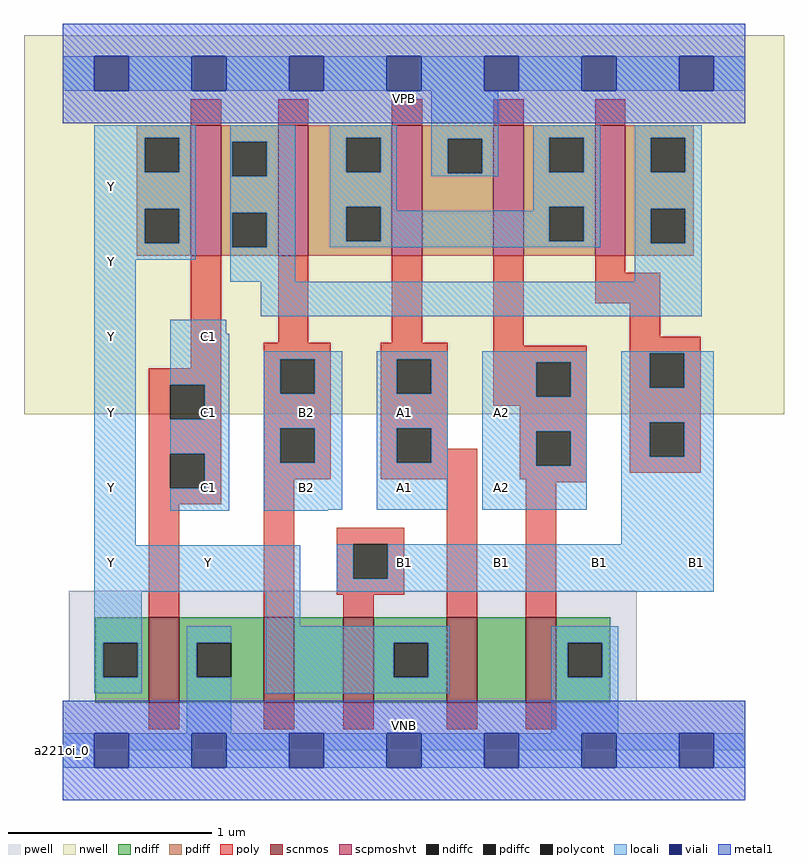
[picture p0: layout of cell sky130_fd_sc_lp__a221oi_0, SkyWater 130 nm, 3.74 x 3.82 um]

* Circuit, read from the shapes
.subckt sky130_fd_sc_lp__a221oi_0 A1 A2 B1 B2 C1 VGND VNB VPB VPWR Y
XM1 VGND C1 Y VNB sky130_fd_pr__nfet_01v8 w=0.42 l=0.15
XM2 n1 B2 VGND VNB sky130_fd_pr__nfet_01v8 w=0.42 l=0.15
XM3 Y B1 n1 VNB sky130_fd_pr__nfet_01v8 w=0.42 l=0.15
XM4 n2 A1 Y VNB sky130_fd_pr__nfet_01v8 w=0.42 l=0.15
XM5 VGND A2 n2 VNB sky130_fd_pr__nfet_01v8 w=0.42 l=0.15
XM6 n3 C1 Y VPB sky130_fd_pr__pfet_01v8_hvt w=0.64 l=0.15
XM7 n4 B2 n3 VPB sky130_fd_pr__pfet_01v8_hvt w=0.64 l=0.15
XM8 VPWR A1 n4 VPB sky130_fd_pr__pfet_01v8_hvt w=0.64 l=0.15
XM9 n4 A2 VPWR VPB sky130_fd_pr__pfet_01v8_hvt w=0.64 l=0.15
XM10 n3 B1 n4 VPB sky130_fd_pr__pfet_01v8_hvt w=0.64 l=0.15
.ends

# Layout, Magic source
magic
tech sky130A
magscale 1 2
<< nwell >>
rect -38 331 710 704
<< pwell >>
rect 6 49 565 157
rect 0 0 672 49
<< scnmos >>
rect 85 47 115 131
rect 198 47 228 131
rect 276 47 306 131
rect 378 47 408 131
rect 456 47 486 131
<< scpmoshvt >>
rect 126 487 156 615
rect 212 487 242 615
rect 324 487 354 615
rect 424 487 454 615
rect 524 487 554 615
<< ndiff >>
rect 32 106 85 131
rect 32 72 40 106
rect 74 72 85 106
rect 32 47 85 72
rect 115 106 198 131
rect 115 72 132 106
rect 166 72 198 106
rect 115 47 198 72
rect 228 47 276 131
rect 306 106 378 131
rect 306 72 326 106
rect 360 72 378 106
rect 306 47 378 72
rect 408 47 456 131
rect 486 106 539 131
rect 486 72 497 106
rect 531 72 539 106
rect 486 47 539 72
<< pdiff >>
rect 73 603 126 615
rect 73 569 81 603
rect 115 569 126 603
rect 73 533 126 569
rect 73 499 81 533
rect 115 499 126 533
rect 73 487 126 499
rect 156 599 212 615
rect 156 565 167 599
rect 201 565 212 599
rect 156 529 212 565
rect 156 495 167 529
rect 201 495 212 529
rect 156 487 212 495
rect 242 603 324 615
rect 242 569 279 603
rect 313 569 324 603
rect 242 535 324 569
rect 242 501 279 535
rect 313 501 324 535
rect 242 487 324 501
rect 354 602 424 615
rect 354 568 379 602
rect 413 568 424 602
rect 354 487 424 568
rect 454 603 524 615
rect 454 569 479 603
rect 513 569 524 603
rect 454 535 524 569
rect 454 501 479 535
rect 513 501 524 535
rect 454 487 524 501
rect 554 603 621 615
rect 554 569 579 603
rect 613 569 621 603
rect 554 533 621 569
rect 554 499 579 533
rect 613 499 621 533
rect 554 487 621 499
<< ndiffc >>
rect 40 72 74 106
rect 132 72 166 106
rect 326 72 360 106
rect 497 72 531 106
<< pdiffc >>
rect 81 569 115 603
rect 81 499 115 533
rect 167 565 201 599
rect 167 495 201 529
rect 279 569 313 603
rect 279 501 313 535
rect 379 568 413 602
rect 479 569 513 603
rect 479 501 513 535
rect 579 569 613 603
rect 579 499 613 533
<< poly >>
rect 126 615 156 641
rect 212 615 242 641
rect 324 615 354 641
rect 424 615 454 641
rect 524 615 554 641
rect 126 376 156 487
rect 212 401 242 487
rect 324 401 354 487
rect 85 360 156 376
rect 85 326 106 360
rect 140 326 156 360
rect 85 292 156 326
rect 85 258 106 292
rect 140 258 156 292
rect 85 242 156 258
rect 198 385 264 401
rect 198 351 214 385
rect 248 351 264 385
rect 198 317 264 351
rect 198 283 214 317
rect 248 283 264 317
rect 198 267 264 283
rect 313 385 379 401
rect 313 351 329 385
rect 363 351 379 385
rect 313 317 379 351
rect 424 398 454 487
rect 524 470 554 487
rect 524 440 588 470
rect 558 407 588 440
rect 424 382 516 398
rect 424 348 466 382
rect 500 348 516 382
rect 424 339 516 348
rect 313 283 329 317
rect 363 297 379 317
rect 450 314 516 339
rect 363 283 408 297
rect 313 267 408 283
rect 450 280 466 314
rect 500 280 516 314
rect 450 267 516 280
rect 558 391 628 407
rect 558 357 578 391
rect 612 357 628 391
rect 558 323 628 357
rect 558 289 578 323
rect 612 289 628 323
rect 558 273 628 289
rect 85 131 115 242
rect 198 131 228 267
rect 270 203 336 219
rect 270 169 286 203
rect 320 169 336 203
rect 270 153 336 169
rect 276 131 306 153
rect 378 131 408 267
rect 456 264 516 267
rect 456 131 486 264
rect 85 21 115 47
rect 198 21 228 47
rect 276 21 306 47
rect 378 21 408 47
rect 456 21 486 47
<< polycont >>
rect 106 326 140 360
rect 106 258 140 292
rect 214 351 248 385
rect 214 283 248 317
rect 329 351 363 385
rect 466 348 500 382
rect 329 283 363 317
rect 466 280 500 314
rect 578 357 612 391
rect 578 289 612 323
rect 286 169 320 203
<< locali >>
rect 0 649 31 683
rect 65 649 127 683
rect 161 649 223 683
rect 257 649 319 683
rect 353 649 415 683
rect 449 649 511 683
rect 545 649 607 683
rect 641 649 672 683
rect 31 603 131 615
rect 31 569 81 603
rect 115 569 131 603
rect 31 533 131 569
rect 31 499 81 533
rect 115 499 131 533
rect 31 483 131 499
rect 165 599 229 615
rect 165 565 167 599
rect 201 565 229 599
rect 165 529 229 565
rect 165 495 167 529
rect 201 495 229 529
rect 263 603 329 615
rect 263 569 279 603
rect 313 569 329 603
rect 263 535 329 569
rect 363 602 429 649
rect 363 568 379 602
rect 413 568 429 602
rect 363 565 429 568
rect 463 603 529 615
rect 463 569 479 603
rect 513 569 529 603
rect 263 501 279 535
rect 313 531 329 535
rect 463 535 529 569
rect 463 531 479 535
rect 313 501 479 531
rect 513 501 529 535
rect 263 495 529 501
rect 563 603 629 615
rect 563 569 579 603
rect 613 569 629 603
rect 563 533 629 569
rect 563 499 579 533
rect 613 499 629 533
rect 31 202 72 483
rect 165 461 229 495
rect 563 461 629 499
rect 195 427 629 461
rect 106 410 161 424
rect 106 360 164 410
rect 140 326 164 360
rect 106 292 164 326
rect 140 258 164 292
rect 106 236 164 258
rect 198 385 275 393
rect 198 351 214 385
rect 248 351 275 385
rect 198 317 275 351
rect 198 283 214 317
rect 248 283 275 317
rect 198 237 275 283
rect 309 385 379 393
rect 309 351 329 385
rect 363 351 379 385
rect 309 317 379 351
rect 309 283 329 317
rect 363 283 379 317
rect 309 237 379 283
rect 413 382 516 393
rect 413 348 466 382
rect 500 348 516 382
rect 413 314 516 348
rect 413 280 466 314
rect 500 280 516 314
rect 413 237 516 280
rect 550 391 641 393
rect 550 357 578 391
rect 612 357 641 391
rect 550 323 641 357
rect 550 289 578 323
rect 612 289 641 323
rect 198 236 261 237
rect 550 203 641 289
rect 31 156 234 202
rect 270 169 286 203
rect 320 169 641 203
rect 270 156 641 169
rect 31 106 78 156
rect 200 122 234 156
rect 31 72 40 106
rect 74 72 78 106
rect 31 56 78 72
rect 122 106 166 122
rect 122 72 132 106
rect 122 17 166 72
rect 200 106 381 122
rect 200 72 326 106
rect 360 72 381 106
rect 200 56 381 72
rect 481 106 547 122
rect 481 72 497 106
rect 531 72 547 106
rect 481 17 547 72
rect 0 -17 31 17
rect 65 -17 127 17
rect 161 -17 223 17
rect 257 -17 319 17
rect 353 -17 415 17
rect 449 -17 511 17
rect 545 -17 607 17
rect 641 -17 672 17
<< viali >>
rect 31 649 65 683
rect 127 649 161 683
rect 223 649 257 683
rect 319 649 353 683
rect 415 649 449 683
rect 511 649 545 683
rect 607 649 641 683
rect 31 -17 65 17
rect 127 -17 161 17
rect 223 -17 257 17
rect 319 -17 353 17
rect 415 -17 449 17
rect 511 -17 545 17
rect 607 -17 641 17
<< metal1 >>
rect 0 683 672 715
rect 0 649 31 683
rect 65 649 127 683
rect 161 649 223 683
rect 257 649 319 683
rect 353 649 415 683
rect 449 649 511 683
rect 545 649 607 683
rect 641 649 672 683
rect 0 617 672 649
rect 0 17 672 49
rect 0 -17 31 17
rect 65 -17 127 17
rect 161 -17 223 17
rect 257 -17 319 17
rect 353 -17 415 17
rect 449 -17 511 17
rect 545 -17 607 17
rect 641 -17 672 17
rect 0 -49 672 -17
<< labels >>
flabel pwell s 0 0 672 49 0 FreeSans 200 0 0 0 VNB
port 7 nsew ground bidirectional
flabel nwell s 0 617 672 666 0 FreeSans 200 0 0 0 VPB
port 8 nsew power bidirectional
rlabel comment s 0 0 0 0 4 a221oi_0
flabel metal1 s 0 617 672 666 0 FreeSans 340 0 0 0 VPWR
port 9 nsew power bidirectional
flabel metal1 s 0 0 672 49 0 FreeSans 340 0 0 0 VGND
port 6 nsew ground bidirectional
flabel locali s 319 242 353 276 0 FreeSans 340 0 0 0 A1
port 1 nsew signal input
flabel locali s 319 316 353 350 0 FreeSans 340 0 0 0 A1
port 1 nsew signal input
flabel locali s 31 168 65 202 0 FreeSans 340 0 0 0 Y
port 10 nsew signal output
flabel locali s 127 168 161 202 0 FreeSans 340 0 0 0 Y
port 10 nsew signal output
flabel locali s 415 242 449 276 0 FreeSans 340 0 0 0 A2
port 2 nsew signal input
flabel locali s 415 316 449 350 0 FreeSans 340 0 0 0 A2
port 2 nsew signal input
flabel locali s 223 242 257 276 0 FreeSans 340 0 0 0 B2
port 4 nsew signal input
flabel locali s 223 316 257 350 0 FreeSans 340 0 0 0 B2
port 4 nsew signal input
flabel locali s 127 242 161 276 0 FreeSans 340 0 0 0 C1
port 5 nsew signal input
flabel locali s 127 316 161 350 0 FreeSans 340 0 0 0 C1
port 5 nsew signal input
flabel locali s 127 390 161 424 0 FreeSans 340 0 0 0 C1
port 5 nsew signal input
flabel locali s 319 168 353 202 0 FreeSans 340 0 0 0 B1
port 3 nsew signal input
flabel locali s 415 168 449 202 0 FreeSans 340 0 0 0 B1
port 3 nsew signal input
flabel locali s 511 168 545 202 0 FreeSans 340 0 0 0 B1
port 3 nsew signal input
flabel locali s 607 168 641 202 0 FreeSans 340 0 0 0 B1
port 3 nsew signal input
flabel locali s 31 464 65 498 0 FreeSans 340 0 0 0 Y
port 10 nsew signal output
flabel locali s 31 538 65 572 0 FreeSans 340 0 0 0 Y
port 10 nsew signal output
flabel locali s 31 316 65 350 0 FreeSans 340 0 0 0 Y
port 10 nsew signal output
flabel locali s 31 390 65 424 0 FreeSans 340 0 0 0 Y
port 10 nsew signal output
flabel locali s 31 242 65 276 0 FreeSans 340 0 0 0 Y
port 10 nsew signal output
<< properties >>
string LEFsite unit
string LEFclass CORE
string FIXED_BBOX 0 0 672 666
string GDS_FILE $PDKPATH/libs.ref/sky130_fd_sc_lp/gds/sky130_fd_sc_lp.gds
string LEFsymmetry X Y R90
string GDS_END 4139718
string GDS_START 4131520
<< end >>
